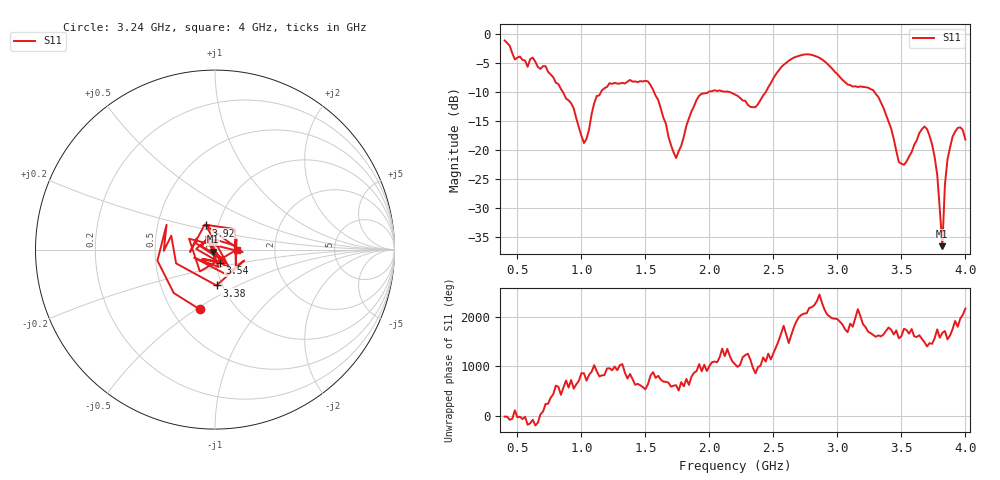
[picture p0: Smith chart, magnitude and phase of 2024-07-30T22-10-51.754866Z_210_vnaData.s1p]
!Created with skrf (http://scikit-rf.org).
# Hz S RI R 50.0
!freq ReS11 ImS11
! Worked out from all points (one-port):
!   181 points, 400 MHz to 4 GHz, reference 50 ohm
!   lowest |S11| = -36.6 dB at 3.82 GHz (marker M1), VSWR 1.03, Z = 49.1 - j1.15 ohm
!   |S11| at or under -10 dB: 854.1 MHz to 1.154 GHz (299.9 MHz wide, 29.9 % of centre); 1.567 GHz to 1.995 GHz (427.9 MHz wide, 24 % of centre); 3.289 GHz to end of sweep (the widest 3 of 4)
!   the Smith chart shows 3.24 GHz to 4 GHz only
!   S11 on the Smith chart (normalised r, x): 3.24 GHz: 0.68, -0.52; 3.38 GHz: 0.94, -0.39; 3.54 GHz: 1.04, -0.16; 3.92 GHz: 0.87, +0.24; 4 GHz: 1.28, +0.00
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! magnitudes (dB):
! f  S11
! 400 MHz  -1.1
! 720 MHz  -5.6
! 860 MHz  -10.2
! 1.02 GHz  -18.8
! 1.12 GHz  -10.7
! 1.3 GHz  -8.6
! 1.52 GHz  -8.2
! 1.72 GHz  -20.4
! 1.76 GHz  -20.2
! 1.92 GHz  -10.7
! 2.2 GHz  -10.5
! 2.36 GHz  -12.6
! 2.66 GHz  -4.1
! 2.86 GHz  -4.1
! 3.1 GHz  -8.8
! 3.24 GHz  -9.3
! 3.38 GHz  -14.0
! 3.48 GHz  -22.1
! 3.54 GHz  -22.0
! 3.56 GHz  -21.2
! 3.68 GHz  -16.0
! 3.72 GHz  -17.6
! 3.78 GHz  -24.3
! 3.82 GHz  -36.6
! 3.84 GHz  -26.0
! 3.86 GHz  -21.7
! 3.92 GHz  -16.8
! 4 GHz  -18.2
